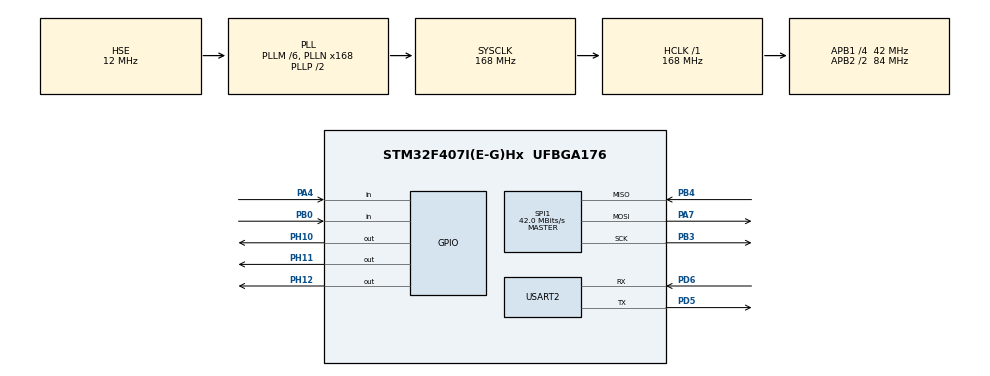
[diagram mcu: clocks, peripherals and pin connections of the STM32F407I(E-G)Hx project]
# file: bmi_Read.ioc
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Mcu.Family=STM32F4
Mcu.Name=STM32F407I(E-G)Hx
Mcu.Package=UFBGA176
NVIC.PriorityGroup=NVIC_PRIORITYGROUP_4
NVIC.TIM2_IRQn=true\:0\:0\:false\:false\:true\:true\:true\:true
NVIC.USART2_IRQn=true\:0\:0\:false\:false\:true\:true\:true\:true
PA13.Mode=Serial_Wire
PA13.Signal=SYS_JTMS-SWDIO
PA14.Mode=Serial_Wire
PA14.Signal=SYS_JTCK-SWCLK
PA4.Signal=GPIO_Input
PA7.Mode=Full_Duplex_Master
PA7.Signal=SPI1_MOSI
PB0.Signal=GPIO_Input
PB3.Mode=Full_Duplex_Master
PB3.Signal=SPI1_SCK
PB4.Mode=Full_Duplex_Master
PB4.Signal=SPI1_MISO
PD5.Mode=Asynchronous
PD5.Signal=USART2_TX
PD6.Mode=Asynchronous
PD6.Signal=USART2_RX
PH0-OSC_IN.Mode=HSE-External-Oscillator
PH0-OSC_IN.Signal=RCC_OSC_IN
PH1-OSC_OUT.Mode=HSE-External-Oscillator
PH1-OSC_OUT.Signal=RCC_OSC_OUT
PH10.Signal=GPIO_Output
PH11.Signal=GPIO_Output
PH12.Signal=GPIO_Output
ProjectManager.HeapSize=0x200
ProjectManager.StackSize=0x400
ProjectManager.TargetToolchain=MDK-ARM V5.32
RCC.48MHZClocksFreq_Value=84000000
RCC.AHBFreq_Value=168000000
RCC.APB1CLKDivider=RCC_HCLK_DIV4
RCC.APB1Freq_Value=42000000
RCC.APB1TimFreq_Value=84000000
RCC.APB2CLKDivider=RCC_HCLK_DIV2
RCC.APB2Freq_Value=84000000
RCC.APB2TimFreq_Value=168000000
RCC.CortexFreq_Value=168000000
RCC.HCLKFreq_Value=168000000
RCC.HSE_VALUE=12000000
RCC.HSI_VALUE=16000000
RCC.LSE_VALUE=32768
RCC.PLLM=6
RCC.PLLN=168
RCC.PLLSourceVirtual=RCC_PLLSOURCE_HSE
RCC.SYSCLKFreq_VALUE=168000000
RCC.SYSCLKSource=RCC_SYSCLKSOURCE_PLLCLK
RCC.VCOOutputFreq_Value=336000000
SPI1.CalculateBaudRate=42.0 MBits/s
SPI1.Direction=SPI_DIRECTION_2LINES
SPI1.Mode=SPI_MODE_MASTER
SPI1.VirtualType=VM_MASTER
TIM2.Period=99
TIM2.Prescaler=163
USART2.VirtualMode=VM_ASYNC
VP_TIM2_VS_ClockSourceINT.Mode=Internal
board=custom

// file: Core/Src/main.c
/* USER CODE BEGIN Header */
/**
  ******************************************************************************
  * @file           : main.c
  * @brief          : Main program body
  ******************************************************************************
  * @attention
  *
  * Copyright (c) 2024 STMicroelectronics.
  * All rights reserved.
  *
  * This software is licensed under terms that can be found in the LICENSE file
  * in the root directory of this software component.
  * If no LICENSE file comes with this software, it is provided AS-IS.
  *
  ******************************************************************************
  */
/* USER CODE END Header */
#include "main.h"
#include "spi.h"
#include "tim.h"
#include "usart.h"
#include "gpio.h"

/* USER CODE BEGIN Includes */

#include "MahonyAHRS.h"
#include "stdio.h"
/* USER CODE END Includes */

void SystemClock_Config(void);

/* USER CODE BEGIN 0 */
#define BMI088_ACCEL_3G_SEN 0.0008974358974f    //这个数字我也不知道哪来的
#define BMI088_GYRO_2000_SEN 0.00106526443603169529841533860381f    //这个数字我也不知道哪来的
float BMI088_ACCEL_SEN = BMI088_ACCEL_3G_SEN;
float BMI088_GYRO_SEN = BMI088_GYRO_2000_SEN;
float accelerometer[3];
float gyro[3];
float quat[4] = {1.0f, 0.0f, 0.0f, 0.0f};
float INS_angle[3] = {0.0f, 0.0f, 0.0f};
uint8_t i = 0;
uint8_t buf[8]={0,0,0,0,0,0,0,0};
uint8_t pTxData;
uint8_t pRxData;

#define RXBUFFERSIZE  256
char RxBuffer[RXBUFFERSIZE];
/* USER CODE END 0 */

int main(void)
{

  /* MCU Configuration--------------------------------------------------------*/

  /* Reset of all peripherals, Initializes the Flash interface and the Systick. */
  HAL_Init();

  /* Configure the system clock */
  SystemClock_Config();

  /* Initialize all configured peripherals */
  MX_GPIO_Init();
  MX_SPI1_Init();
  MX_USART2_UART_Init();
  MX_TIM2_Init();
  /* USER CODE BEGIN 2 */
    HAL_GPIO_WritePin(GPIOA, GPIO_PIN_4, GPIO_PIN_RESET);    //PA4置0，片选加速度计
    pTxData = (0x7E & 0x7F);    //Bit #0和Bit #1-7，Bit #0是0，表示写
    HAL_SPI_Transmit(&hspi1, &pTxData, 1, 1000);
    while(HAL_SPI_GetState(&hspi1)==HAL_SPI_STATE_BUSY_TX);    //等待SPI发送完成
    pTxData = 0xB6;    //Bit #8-15
    HAL_SPI_Transmit(&hspi1, &pTxData, 1, 1000);
    while(HAL_SPI_GetState(&hspi1)==HAL_SPI_STATE_BUSY_TX);    //等待SPI发送完成
    HAL_Delay(1);    //延时1ms
    HAL_GPIO_WritePin(GPIOA, GPIO_PIN_4, GPIO_PIN_SET);    //PA4置1，取消片选加速度计

    //加速度计复位后默认是暂停模式，这9行代码，向地址0x7D处写入0x04值，使加速度计进入正常模式
    HAL_GPIO_WritePin(GPIOA, GPIO_PIN_4, GPIO_PIN_RESET);    //PA4置0，片选加速度计
    pTxData = (0x7D & 0x7F);    //Bit #0和Bit #1-7，Bit #0是0，表示写
    HAL_SPI_Transmit(&hspi1, &pTxData, 1, 1000);
    while(HAL_SPI_GetState(&hspi1)==HAL_SPI_STATE_BUSY_TX);    //等待SPI发送完成
    pTxData = 0x04;    //Bit #8-15
    HAL_SPI_Transmit(&hspi1, &pTxData, 1, 1000);
    while(HAL_SPI_GetState(&hspi1)==HAL_SPI_STATE_BUSY_TX);    //等待SPI发送完成
    HAL_Delay(1);    //延时1ms
    HAL_GPIO_WritePin(GPIOA, GPIO_PIN_4, GPIO_PIN_SET);    //PA4置1，取消片选加速度计

    //这9行代码，向地址0x14处写入0xB6值，陀螺仪软件复位，使陀螺仪各个寄存器恢复为默认值
    HAL_GPIO_WritePin(GPIOB, GPIO_PIN_0, GPIO_PIN_RESET);    //PB0置0，片选陀螺仪
    pTxData = (0x14 & 0x7F);    //Bit #0和Bit #1-7，Bit #0是0，表示写
    HAL_SPI_Transmit(&hspi1, &pTxData, 1, 1000);
    while(HAL_SPI_GetState(&hspi1)==HAL_SPI_STATE_BUSY_TX);    //等待SPI发送完成
    pTxData = 0xB6;    //Bit #8-15
    HAL_SPI_Transmit(&hspi1, &pTxData, 1, 1000);
    while(HAL_SPI_GetState(&hspi1)==HAL_SPI_STATE_BUSY_TX);    //等待SPI发送完成
    HAL_Delay(30);    //延时30ms
    HAL_GPIO_WritePin(GPIOB, GPIO_PIN_0, GPIO_PIN_SET);    //PB0置1，取消片选陀螺仪
HAL_TIM_Base_Start_IT(&htim2);
  /* USER CODE END 2 */

  /* Infinite loop */
  while (1)
  {
	printf("hello");
  }
}

void SystemClock_Config(void)
{
  RCC_OscInitTypeDef RCC_OscInitStruct = {0};
  RCC_ClkInitTypeDef RCC_ClkInitStruct = {0};

  /** Configure the main internal regulator output voltage
  */
  __HAL_RCC_PWR_CLK_ENABLE();
  __HAL_PWR_VOLTAGESCALING_CONFIG(PWR_REGULATOR_VOLTAGE_SCALE1);

  /** Initializes the RCC Oscillators according to the specified parameters
  * in the RCC_OscInitTypeDef structure.
  */
  RCC_OscInitStruct.OscillatorType = RCC_OSCILLATORTYPE_HSE;
  RCC_OscInitStruct.HSEState = RCC_HSE_ON;
  RCC_OscInitStruct.PLL.PLLState = RCC_PLL_ON;
  RCC_OscInitStruct.PLL.PLLSource = RCC_PLLSOURCE_HSE;
  RCC_OscInitStruct.PLL.PLLM = 6;
  RCC_OscInitStruct.PLL.PLLN = 168;
  RCC_OscInitStruct.PLL.PLLP = RCC_PLLP_DIV2;
  RCC_OscInitStruct.PLL.PLLQ = 4;
  if (HAL_RCC_OscConfig(&RCC_OscInitStruct) != HAL_OK)
  {
    Error_Handler();
  }

  /** Initializes the CPU, AHB and APB buses clocks
  */
  RCC_ClkInitStruct.ClockType = RCC_CLOCKTYPE_HCLK|RCC_CLOCKTYPE_SYSCLK
                              |RCC_CLOCKTYPE_PCLK1|RCC_CLOCKTYPE_PCLK2;
  RCC_ClkInitStruct.SYSCLKSource = RCC_SYSCLKSOURCE_PLLCLK;
  RCC_ClkInitStruct.AHBCLKDivider = RCC_SYSCLK_DIV1;
  RCC_ClkInitStruct.APB1CLKDivider = RCC_HCLK_DIV4;
  RCC_ClkInitStruct.APB2CLKDivider = RCC_HCLK_DIV2;

  if (HAL_RCC_ClockConfig(&RCC_ClkInitStruct, FLASH_LATENCY_5) != HAL_OK)
  {
    Error_Handler();
  }
}

/* USER CODE BEGIN 4 */
void HAL_TIM_PeriodElapsedCallback(TIM_HandleTypeDef *htim)
{
    HAL_GPIO_WritePin(GPIOA, GPIO_PIN_4, GPIO_PIN_RESET);    //PA4置0，片选加速度计
    pTxData = (0x12 | 0x80);    //Bit #0和Bit #1-7，Bit #0是1，表示读
    HAL_SPI_Transmit(&hspi1, &pTxData, 1, 1000);
    while(HAL_SPI_GetState(&hspi1)==HAL_SPI_STATE_BUSY_TX);    //等待SPI发送完成
    HAL_SPI_Receive(&hspi1, &pRxData, 1, 1000);    //Bit #8-15，无效值
    while(HAL_SPI_GetState(&hspi1)==HAL_SPI_STATE_BUSY_RX);    //等待SPI接收完成
    i = 0;
    while (i < 6)
    {
        HAL_SPI_Receive(&hspi1, &pRxData, 1, 1000);    //Bit #16-23，寄存器0x12的值，然后是寄存器0x13、0x14、0x15、0x16、0x17的值
    	while(HAL_SPI_GetState(&hspi1)==HAL_SPI_STATE_BUSY_RX);    //等待SPI接收完成
    	buf[i] = pRxData;
        i++;
    }
    HAL_GPIO_WritePin(GPIOA, GPIO_PIN_4, GPIO_PIN_SET);    //PA4置1，取消片选加速度计
    accelerometer[0] = ((int16_t)((buf[1]) << 8) | buf[0]) * BMI088_ACCEL_SEN;
    accelerometer[1] = ((int16_t)((buf[3]) << 8) | buf[2]) * BMI088_ACCEL_SEN;
    accelerometer[2] = ((int16_t)((buf[5]) << 8) | buf[4]) * BMI088_ACCEL_SEN;

    HAL_GPIO_WritePin(GPIOB, GPIO_PIN_0, GPIO_PIN_RESET);    //PB0置0，片选陀螺仪
    pTxData = (0x00 | 0x80);    //Bit #0和Bit #1-7，Bit #0是1，表示读
    HAL_SPI_Transmit(&hspi1, &pTxData, 1, 1000);
    while(HAL_SPI_GetState(&hspi1)==HAL_SPI_STATE_BUSY_TX);    //等待SPI发送完成
    i = 0;
    while (i < 8)
    {
    	HAL_SPI_Receive(&hspi1, &pRxData, 1, 1000);    //Bit #8-15，寄存器0x00的值，然后是寄存器0x01、0x02、0x03、0x04、0x05、0x06、0x07的值
    	while(HAL_SPI_GetState(&hspi1)==HAL_SPI_STATE_BUSY_RX);    //等待SPI接收完成
    	buf[i] = pRxData;
    	i++;
    }
    HAL_GPIO_WritePin(GPIOB, GPIO_PIN_0, GPIO_PIN_SET);    //PB0置1，取消片选陀螺仪
    if(buf[0] == 0x0F)	//buf[0]储存GYRO_CHIP_ID，应该为0x0F，判断我们读取到的是不是陀螺仪的值。
    {
    	gyro[0] = ((int16_t)((buf[3]) << 8) | buf[2]) * BMI088_GYRO_SEN;
    	gyro[1] = ((int16_t)((buf[5]) << 8) | buf[4]) * BMI088_GYRO_SEN;
    	gyro[2] = ((int16_t)((buf[7]) << 8) | buf[6]) * BMI088_GYRO_SEN;
    }

	MahonyAHRSupdateIMU(gyro[0], gyro[1], gyro[2], accelerometer[0], accelerometer[1], accelerometer[2],quat);    //对得到的加速度计、陀螺仪数据进行计算得到四元数
	get_angle(quat, INS_angle, INS_angle+1, INS_angle+2);    //对四元数计算得到欧拉角
	printf("INS_angle_1=%f\n",(double)INS_angle[0]);
	printf("INS_angle_2=%f\n",(double)INS_angle[1]);
	printf("INS_angle_3=%f\n",(double)INS_angle[2]);

}
/* USER CODE END 4 */

void Error_Handler(void)
{
  __disable_irq();
  while (1)
  {
  }
}
